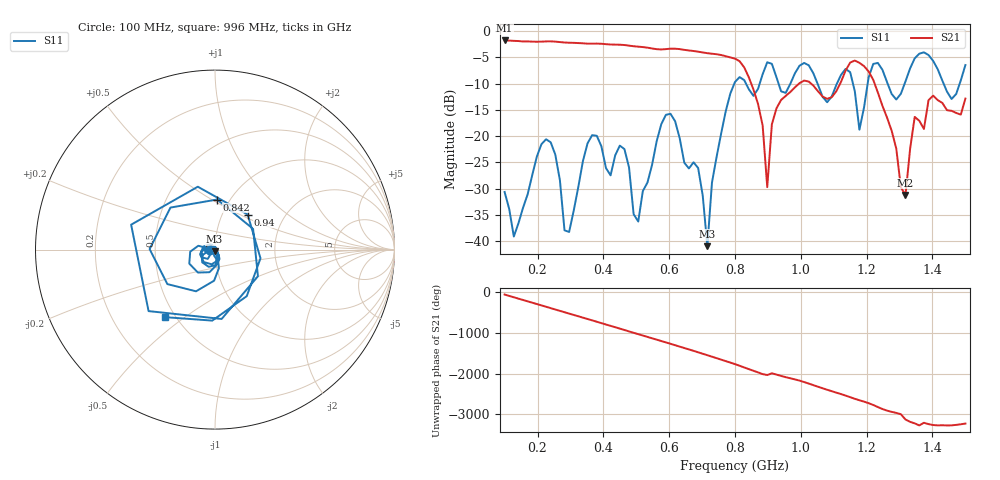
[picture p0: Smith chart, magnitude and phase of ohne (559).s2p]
! NanoVNA-App
! Date: 2025-09-25 14:25:09
! Start: 100MHz Stop: 1,5GHz Points: 101
! S-Parameter data: F S11 S21 S12 S22
# Hz S RI R 50
!  Frequency  S11_Real  S11_Imag  S21_Real  S21_Imag  S12_Real  S12_Imag  S22_Real  S22_Imag
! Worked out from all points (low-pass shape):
!   101 points, 100 MHz to 1.5 GHz, reference 50 ohm
!   highest |S21| = -1.79 dB at 100 MHz (marker M1); lowest = -31.2 dB at 1.318 GHz (marker M2)
!   |S21| within 3 dB of the highest: start of sweep to 772.2 MHz
!   lowest |S11| = -40.9 dB at 716 MHz (marker M3), VSWR 1.02, Z = 49.7 - j0.855 ohm
!   |S11| at or under -10 dB: start of sweep to 798 MHz; 833.3 MHz to 875.1 MHz (41.74 MHz wide, 4.89 % of centre); 1.051 GHz to 1.11 GHz (58.99 MHz wide, 5.46 % of centre) (the widest 3 of 7)
!   S12 and S22 are empty: the file has one direction only
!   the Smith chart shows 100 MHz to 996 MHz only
!   S11 on the Smith chart (normalised r, x): 100 MHz: 0.94, -0.01; 842 MHz: 0.87, +0.53; 940 MHz: 1.31, +0.55; 996 MHz: 0.44, -0.42
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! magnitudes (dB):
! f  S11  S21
! 100 MHz  -30.6  -1.8
! 128 MHz  -39.1  -1.9
! 226 MHz  -20.6  -2.0
! 296 MHz  -38.2  -2.2
! 338 MHz  -24.7  -2.3
! 464 MHz  -22.5  -2.7
! 506 MHz  -36.3  -3.0
! 576 MHz  -17.7  -3.5
! 688 MHz  -26.1  -3.9
! 716 MHz  -40.9  -4.2
! 800 MHz  -9.7  -5.3
! 842 MHz  -11.1  -8.8
! 898 MHz  -5.9  -29.7
! 940 MHz  -11.5  -13.1
! 996 MHz  -6.6  -9.9
! 1.038 GHz  -8.0  -10.4
! 1.178 GHz  -18.8  -6.1
! 1.22 GHz  -6.3  -9.3
! 1.276 GHz  -12.0  -19.0
! 1.318 GHz  -9.6  -31.2
! 1.346 GHz  -5.2  -16.3
! 1.5 GHz  -6.5  -12.9
